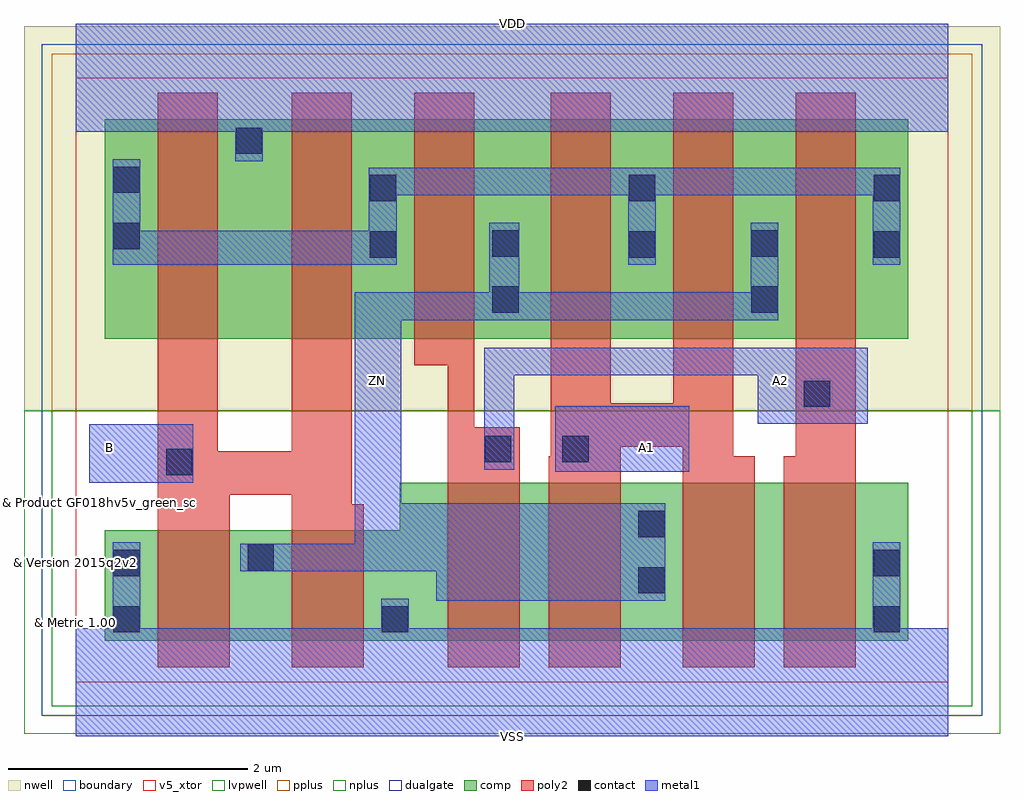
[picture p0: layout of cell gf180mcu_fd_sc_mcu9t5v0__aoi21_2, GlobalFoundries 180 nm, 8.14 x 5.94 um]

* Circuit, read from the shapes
.subckt gf180mcu_fd_sc_mcu9t5v0__aoi21_2 A1 A2 B VDD VSS ZN
XM1 ZN B VSS VSUBS nfet_05v0 w=0.92u l=0.6u m=2
XM2 n1 A2 VSS VSUBS nfet_05v0 w=1.32u l=0.6u
XM3 ZN A1 n1 VSUBS nfet_05v0 w=1.32u l=0.6u
XM4 n2 A1 ZN VSUBS nfet_05v0 w=1.32u l=0.6u
XM5 VSS A2 n2 VSUBS nfet_05v0 w=1.32u l=0.6u
XM6 VDD B n3 n4 pfet_05v0 w=1.83u l=0.5u m=2
XM7 ZN A2 n3 n4 pfet_05v0 w=1.83u l=0.5u m=2
XM8 n3 A1 ZN n4 pfet_05v0 w=1.83u l=0.5u m=2
.ends

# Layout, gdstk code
import gdstk
lib = gdstk.Library(unit=1e-6, precision=1e-09)
def R(c, l, rs):  # rectangles x0, y0, x1, y1
    for r in rs: c.add(gdstk.rectangle(r[:2], r[2:], *l))
def P(c, l, *ps):  # polygons
    for p in ps: c.add(gdstk.Polygon(p, *l))
boundary = (0, 0)
nwell = (21, 0)
comp = (22, 0)
poly2 = (30, 0)
pplus = (31, 0)
nplus = (32, 0)
contact = (33, 0)
metal1 = (34, 0)
dualgate = (55, 0)
v5_xtor = (112, 1)
lvpwell = (204, 0)

gf180mcu_fd_sc_mcu9t5v0_ = lib.new_cell('gf180mcu_fd_sc_mcu9t5v0__aoi21_2')
R(gf180mcu_fd_sc_mcu9t5v0_, boundary, [(0,0,7.28,5.04)])
R(gf180mcu_fd_sc_mcu9t5v0_, nwell, [(-0.43,2.265,7.71,5.47)])
R(gf180mcu_fd_sc_mcu9t5v0_, comp, [(0.245,2.865,6.945,4.695)])
P(gf180mcu_fd_sc_mcu9t5v0_, comp, [(0.245,0.345),(0.245,1.265),(2.705,1.265),(2.705,1.665),(6.945,1.665),(6.945,0.345)])
P(gf180mcu_fd_sc_mcu9t5v0_, poly2, [(0.685,0.125),(0.685,4.915),(1.185,4.915),(1.185,1.925),(1.805,1.925),(1.805,4.915),(2.305,4.915),(2.305,1.485),(2.405,1.485),(2.405,0.125),(1.805,0.125),(1.805,1.565),(1.285,1.565),(1.285,0.125)],
  [(3.105,0.125),(3.105,2.645),(2.825,2.645),(2.825,4.915),(3.325,4.915),(3.325,2.125),(3.705,2.125),(3.705,0.125)],
  [(3.945,0.125),(3.945,1.885),(3.965,1.885),(3.965,4.915),(4.465,4.915),(4.465,2.325),(4.985,2.325),(4.985,4.915),(5.485,4.915),(5.485,1.885),(5.665,1.885),(5.665,0.125),(5.065,0.125),(5.065,1.965),(4.545,1.965),(4.545,0.125)],
  [(5.905,0.125),(5.905,1.885),(6.005,1.885),(6.005,4.915),(6.505,4.915),(6.505,0.125)])
R(gf180mcu_fd_sc_mcu9t5v0_, pplus, [(-0.2,2.265,7.48,5.24)])
R(gf180mcu_fd_sc_mcu9t5v0_, nplus, [(-0.2,-0.2,7.48,2.265)])
R(gf180mcu_fd_sc_mcu9t5v0_, contact, [(0.315,0.415,0.535,0.635), (2.555,0.415,2.775,0.635), (6.655,0.415,6.875,0.635), (4.695,0.74,4.915,0.96), (0.315,0.885,0.535,1.105), (6.655,0.885,6.875,1.105), (1.435,0.93,1.655,1.15), (4.695,1.21,4.915,1.43), (0.755,1.725,0.975,1.945), (3.415,1.835,3.635,2.055), (4.06,1.835,4.28,2.055), (6.075,2.295,6.295,2.515), (3.475,3.08,3.695,3.3), (5.635,3.08,5.855,3.3), (2.455,3.54,2.675,3.76), (4.615,3.54,4.835,3.76), (6.655,3.54,6.875,3.76), (3.475,3.55,3.695,3.77), (5.635,3.55,5.855,3.77), (0.315,3.61,0.535,3.83), (2.455,4.01,2.675,4.23), (4.615,4.01,4.835,4.23), (6.655,4.01,6.875,4.23), (0.315,4.08,0.535,4.3), (1.335,4.405,1.555,4.625)])
R(gf180mcu_fd_sc_mcu9t5v0_, metal1, [(0.115,1.665,0.98,2.15), (4,1.755,5.12,2.3)])
P(gf180mcu_fd_sc_mcu9t5v0_, metal1, [(3.01,0.68),(3.01,0.925),(1.375,0.925),(1.375,1.155),(2.33,1.155),(2.33,3.25),(3.45,3.25),(3.45,3.83),(3.7,3.83),(3.7,3.25),(5.63,3.25),(5.63,3.83),(5.86,3.83),(5.86,3.02),(2.715,3.02),(2.715,1.49),(4.92,1.49),(4.92,0.68)],
  [(3.41,1.77),(3.41,2.79),(6.605,2.79),(6.605,2.155),(5.69,2.155),(5.69,2.56),(3.66,2.56),(3.66,1.77)],
  [(0.31,3.48),(0.31,4.36),(0.54,4.36),(0.54,3.765),(2.445,3.765),(2.445,4.29),(6.88,4.29),(6.88,3.48),(6.65,3.48),(6.65,4.06),(4.84,4.06),(4.84,3.48),(4.61,3.48),(4.61,4.06),(2.68,4.06),(2.68,3.48)],
  [(0,-0.45),(0,0.45),(0.31,0.45),(0.31,1.165),(0.54,1.165),(0.54,0.45),(2.55,0.45),(2.55,0.695),(2.78,0.695),(2.78,0.45),(6.65,0.45),(6.65,1.165),(6.88,1.165),(6.88,0.45),(7.28,0.45),(7.28,-0.45)],
  [(1.33,4.345),(1.33,4.59),(0,4.59),(0,5.49),(7.28,5.49),(7.28,4.59),(1.56,4.59),(1.56,4.345)])
R(gf180mcu_fd_sc_mcu9t5v0_, dualgate, [(-0.28,-0.28,7.56,5.32)])
R(gf180mcu_fd_sc_mcu9t5v0_, v5_xtor, [(0,0,7.28,5.04)])
R(gf180mcu_fd_sc_mcu9t5v0_, lvpwell, [(-0.43,-0.43,7.71,2.265)])
gf180mcu_fd_sc_mcu9t5v0_.add(gdstk.Label('A1', (4.76,1.96), layer=34, texttype=10))
gf180mcu_fd_sc_mcu9t5v0_.add(gdstk.Label('A2', (5.88,2.52), layer=34, texttype=10))
gf180mcu_fd_sc_mcu9t5v0_.add(gdstk.Label('B', (0.28,1.96), layer=34, texttype=10))
gf180mcu_fd_sc_mcu9t5v0_.add(gdstk.Label('VDD', (3.64,5.49), layer=34, texttype=10))
gf180mcu_fd_sc_mcu9t5v0_.add(gdstk.Label('VSS', (3.64,-0.45), layer=34, texttype=10))
gf180mcu_fd_sc_mcu9t5v0_.add(gdstk.Label('ZN', (2.52,2.52), layer=34, texttype=10))
gf180mcu_fd_sc_mcu9t5v0_.add(gdstk.Label('& Vendor GLOBALFOUNDRIES', (0,2), layer=63, texttype=63))
gf180mcu_fd_sc_mcu9t5v0_.add(gdstk.Label('& Product GF018hv5v_green_sc9', (0,1.5), layer=63, texttype=63))
gf180mcu_fd_sc_mcu9t5v0_.add(gdstk.Label('& Version 2015q2v2', (0,1), layer=63, texttype=63))
gf180mcu_fd_sc_mcu9t5v0_.add(gdstk.Label('& Metric 1.00', (0,0.5), layer=63, texttype=63))

lib.write_gds('gf180mcu_fd_sc_mcu9t5v0__aoi21_2.gds')
